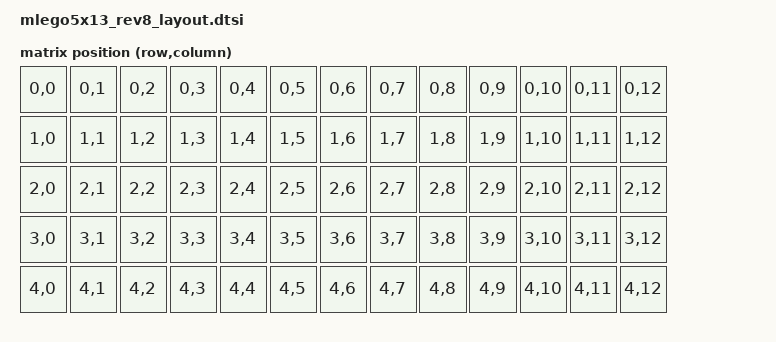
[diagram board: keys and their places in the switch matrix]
/*
 * Copyright (c) 2022-2024 alin m elena
 * SPDX-License-Identifier: MIT
 */

#include <dt-bindings/zmk/matrix_transform.h>
#include <physical_layouts.dtsi>

/ {
    m65_layout: m65_layout {
        compatible = "zmk,physical-layout";
        display-name = "m65 default layout";
        transform = <&m65>;
        keys  //                     w   h    x    y     rot    rx    ry
            = <&key_physical_attrs 100 100    0 0       0     0     0>
            , <&key_physical_attrs 100 100  100 0       0     0     0>
            , <&key_physical_attrs 100 100  200 0       0     0     0>
            , <&key_physical_attrs 100 100  300 0       0     0     0>
            , <&key_physical_attrs 100 100  400 0       0     0     0>
            , <&key_physical_attrs 100 100  500 0       0     0     0>
            , <&key_physical_attrs 100 100  600 0       0     0     0>
            , <&key_physical_attrs 100 100  700 0       0     0     0>
            , <&key_physical_attrs 100 100  800 0       0     0     0>
            , <&key_physical_attrs 100 100  900 0       0     0     0>
            , <&key_physical_attrs 100 100 1000 0       0     0     0>
            , <&key_physical_attrs 100 100 1100 0       0     0     0>
            , <&key_physical_attrs 100 100 1200 0       0     0     0>
            , <&key_physical_attrs 100 100    0  100       0     0     0>
            , <&key_physical_attrs 100 100  100  100       0     0     0>
            , <&key_physical_attrs 100 100  200  100       0     0     0>
            , <&key_physical_attrs 100 100  300  100       0     0     0>
            , <&key_physical_attrs 100 100  400  100       0     0     0>
            , <&key_physical_attrs 100 100  500  100       0     0     0>
            , <&key_physical_attrs 100 100  600  100       0     0     0>
            , <&key_physical_attrs 100 100  700  100       0     0     0>
            , <&key_physical_attrs 100 100  800  100       0     0     0>
            , <&key_physical_attrs 100 100  900  100       0     0     0>
            , <&key_physical_attrs 100 100 1000  100       0     0     0>
            , <&key_physical_attrs 100 100 1100  100       0     0     0>
            , <&key_physical_attrs 100 100 1200  100       0     0     0>
            , <&key_physical_attrs 100 100    0  200       0     0     0>
            , <&key_physical_attrs 100 100  100  200       0     0     0>
            , <&key_physical_attrs 100 100  200  200       0     0     0>
            , <&key_physical_attrs 100 100  300  200       0     0     0>
            , <&key_physical_attrs 100 100  400  200       0     0     0>
            , <&key_physical_attrs 100 100  500  200       0     0     0>
            , <&key_physical_attrs 100 100  600  200       0     0     0>
            , <&key_physical_attrs 100 100  700  200       0     0     0>
            , <&key_physical_attrs 100 100  800  200       0     0     0>
            , <&key_physical_attrs 100 100  900  200       0     0     0>
            , <&key_physical_attrs 100 100 1000  200       0     0     0>
            , <&key_physical_attrs 100 100 1100  200       0     0     0>
            , <&key_physical_attrs 100 100 1200  200       0     0     0>
            , <&key_physical_attrs 100 100    0  300       0     0     0>
            , <&key_physical_attrs 100 100  100  300       0     0     0>
            , <&key_physical_attrs 100 100  200  300       0     0     0>
            , <&key_physical_attrs 100 100  300  300       0     0     0>
            , <&key_physical_attrs 100 100  400  300       0     0     0>
            , <&key_physical_attrs 100 100  500  300       0     0     0>
            , <&key_physical_attrs 100 100  600  300       0     0     0>
            , <&key_physical_attrs 100 100  700  300       0     0     0>
            , <&key_physical_attrs 100 100  800  300       0     0     0>
            , <&key_physical_attrs 100 100  900  300       0     0     0>
            , <&key_physical_attrs 100 100 1000  300       0     0     0>
            , <&key_physical_attrs 100 100 1100  300       0     0     0>
            , <&key_physical_attrs 100 100 1200  300       0     0     0>
            , <&key_physical_attrs 100 100    0  400       0     0     0>
            , <&key_physical_attrs 100 100  100  400       0     0     0>
            , <&key_physical_attrs 100 100  200  400       0     0     0>
            , <&key_physical_attrs 100 100  300  400       0     0     0>
            , <&key_physical_attrs 100 100  400  400       0     0     0>
            , <&key_physical_attrs 100 100  500  400       0     0     0>
            , <&key_physical_attrs 100 100  600  400       0     0     0>
            , <&key_physical_attrs 100 100  700  400       0     0     0>
            , <&key_physical_attrs 100 100  800  400       0     0     0>
            , <&key_physical_attrs 100 100  900  400       0     0     0>
            , <&key_physical_attrs 100 100 1000  400       0     0     0>
            , <&key_physical_attrs 100 100 1100  400       0     0     0>
            , <&key_physical_attrs 100 100 1200  400       0     0     0>
            ;
   };

   m65_position_map {
        compatible = "zmk,physical-layout-position-map";
        complete; 
        m65_layout_posmap: m65_layout {
            physical-layout = <&m65_layout>;
            positions
              = < 0  1  2  3  4  5  6  7  8  9 10 11 12>
              , <13 15 16 17 18 19 20 21 22 23 24 25 25>
              , <26 28 29 30 31 32 33 34 35 36 37 38 38>
              , <39 41 42 43 44 45 46 47 48 49 50 51 51>
              , <52 54 55 56 57 58 59 60 61 62 63 64 64>
            ;
        };
    };

      m65: m65_0 {
        compatible = "zmk,matrix-transform";
        columns = <13>;
        rows = <5>;
/*
┌────┐
│ x  │
├────┼────┬────┬────┬────┬────┬────┬────┬────┬────┬────┬────┬────┐
│ 0A │ 0B │ 0C │ 0D │ 0E │ 0F │ 0G │ 0H │ 0I │ 0J │ 0K │ 0L │ 0M │ 
├────┼────┼────┼────┼────┼────┼────┼────┼────┼────┼────┼────┼────┤
│ 1A │ 1B │ 1C │ 1D │ 1E │ 1F │ 1G │ 1H │ 1I │ 1J │ 1K │ 1L │ 1M │
├────┼────┼────┼────┼────┼────┼────┼────┼────┼────┼────┼────┼────┤
│ 2A │ 2B │ 2C │ 2D │ 2E │ 2F │ 2G │ 2H │ 2I │ 2J │ 2K │ 2L │ 2M │
├────┼────┼────┼────┼────┼────┼────┼────┼────┼────┼────┼────┼────┤
│ 3A │ 3B │ 3C │ 3D │ 3E │ 3F │ 3G │ 3H │ 3I │ 3J │ 3K │ 3L │ 3M │
├────┼────┼────┼────┼────┼────┼────┼────┼────┼────┼────┼────┼────┤
│ 4A │ 4B │ 4C │ 4D │ 4E │ 4F │ 4G │ 4H │ 4I │ 4J │ 4K │ 4L │ 4M │
└────┴────┴────┴────┴────┴────┴────┴────┴────┴────┴────┴────┴────┘

*/
        map = <
RC(0,0) RC(0,1) RC(0,2) RC(0,3)  RC(0,4) RC(0,5) RC(0,6) RC(0,7)  RC(0,8) RC(0,9) RC(0,10) RC(0,11) RC(0,12) 
RC(1,0) RC(1,1) RC(1,2) RC(1,3)  RC(1,4) RC(1,5) RC(1,6) RC(1,7)  RC(1,8) RC(1,9) RC(1,10) RC(1,11) RC(1,12) 
RC(2,0) RC(2,1) RC(2,2) RC(2,3)  RC(2,4) RC(2,5) RC(2,6) RC(2,7)  RC(2,8) RC(2,9) RC(2,10) RC(2,11) RC(2,12) 
RC(3,0) RC(3,1) RC(3,2) RC(3,3)  RC(3,4) RC(3,5) RC(3,6) RC(3,7)  RC(3,8) RC(3,9) RC(3,10) RC(3,11) RC(3,12) 
RC(4,0) RC(4,1) RC(4,2) RC(4,3)  RC(4,4) RC(4,5) RC(4,6) RC(4,7)  RC(4,8) RC(4,9) RC(4,10) RC(4,11) RC(4,12) 
        >;
    };
};
